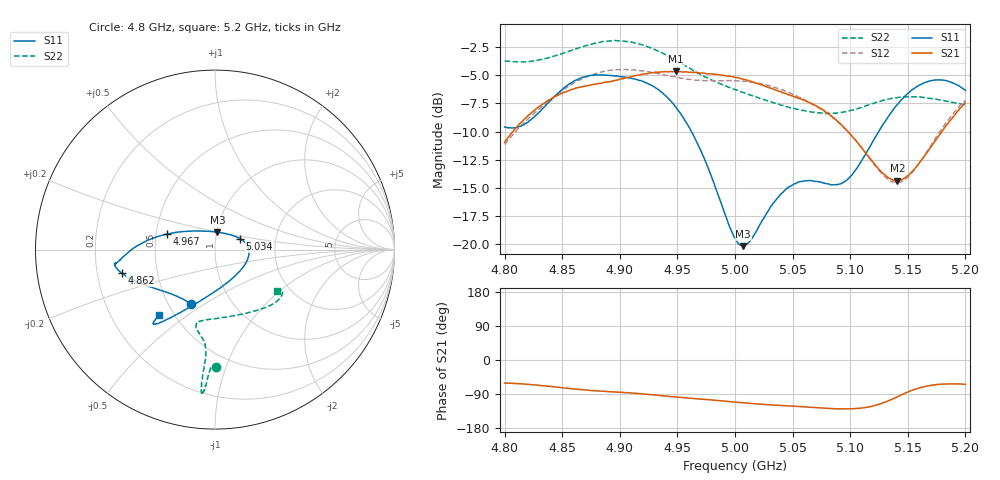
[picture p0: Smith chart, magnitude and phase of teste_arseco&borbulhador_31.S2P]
! Network Analyzer HP8722D
! Hewlett-Packard
! Data name: Linha & Wilkinson
! Saver's name: Rodrigo Anjos
! Comments: Teste da utilização de aquisição
! continua pelo VNA HP8722D
! Time and date: 15/4/2025 15:53
!  Frequency  S11  S21  S12  S22
# HZ  S  MA R 50
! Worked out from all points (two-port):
!   401 points, 4.8 GHz to 5.2 GHz, reference 50 ohm
!   highest |S21| = -4.64 dB at 4.949 GHz (marker M1); lowest = -14.4 dB at 5.141 GHz (marker M2)
!   |S21| within 3 dB of the highest: 4.832 GHz to 5.069 GHz (236.6 MHz wide, 4.78 % of centre); 5.19829 GHz to end of sweep
!   lowest |S11| = -20.2 dB at 5.007 GHz (marker M3), VSWR 1.22, Z = 50.4 + j9.82 ohm
!   |S11| at or under -10 dB: 4.962 GHz to 5.125 GHz (162.7 MHz wide, 3.23 % of centre)
!   |S22| runs from -8.4 to -1.9 dB; largest |S21 - S12| = 0.88
!   S11 on the Smith chart (normalised r, x): 4.8 GHz: 0.64, -0.44; 4.862 GHz: 0.31, -0.11; 4.967 GHz: 0.57, +0.11; 5.034 GHz: 1.32, +0.16; 5.2 GHz: 0.41, -0.39
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4.8e9  0.3314 -114.1  0.2832 -61.0  0.2769 -175.3  0.6538 -89.6
4.819e9  0.3458 -133.8  0.3665 -63.9  0.3542 -173.5  0.6489 -91.2
4.862e9  0.5366 -165.9  0.4949 -76.8  0.5264 -176.6  0.7391 -93.6
4.867e9  0.55 -167.8  0.5013 -78.4  0.5422 -177.7  0.7541 -93.7
4.898e9  0.5585 -172.3  0.5368 -84.7  0.5966 176.0  0.8038 -95.0
4.934e9  0.4843 -178.1  0.5811 -93.6  0.5735 171.8  0.7174 -95.7
4.949e9  0.4041 174.7  0.5865 -97.5  0.5522 172.1  0.6557 -95.3
4.967e9  0.2824 162.3  0.5788 -102.3  0.535 173.9  0.5795 -95.0
5e9  0.1061 106.2  0.5522 -111.0  0.5343 176.3  0.4863 -99.3
5.007e9  0.09742 82.3  0.5407 -112.6  0.5304 176.1  0.4712 -101.0
5.014e9  0.1045 60.0  0.529 -114.7  0.5258 175.9  0.459 -102.5
5.034e9  0.1529 23.3  0.4868 -119.1  0.4976 175.0  0.4245 -104.0
5.049e9  0.1814 7.3  0.4566 -121.5  0.4669 174.4  0.404 -100.7
5.067e9  0.1905 -11.9  0.4191 -124.9  0.421 173.9  0.3861 -91.8
5.086e9  0.1828 -42.3  0.3631 -128.7  0.3594 173.6  0.3815 -77.6
5.097e9  0.1916 -65.4  0.3201 -129.2  0.3194 174.1  0.3884 -68.4
5.134e9  0.3744 -116.4  0.1956 -106.5  0.1918 -159.5  0.442 -43.3
5.141e9  0.4177 -120.4  0.1909 -96.7  0.1878 -148.3  0.4479 -40.2
5.153e9  0.4819 -125.2  0.208 -80.7  0.205 -129.8  0.4523 -36.0
5.17e9  0.5327 -128.8  0.2693 -66.9  0.2744 -113.0  0.4446 -32.1
5.184e9  0.5318 -130.2  0.3399 -63.2  0.3504 -107.3  0.4314 -31.1
5.2e9  0.4823 -130.6  0.4245 -64.2  0.4358 -106.2  0.4155 -33.5
